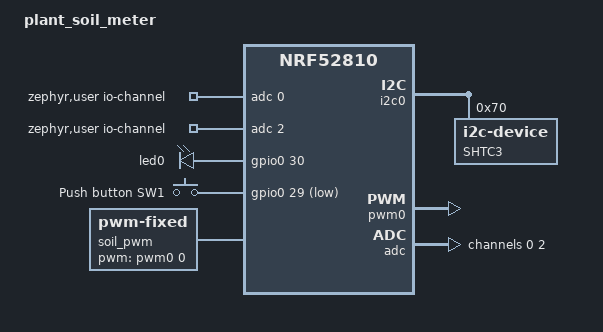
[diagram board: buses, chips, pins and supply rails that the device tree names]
/dts-v1/;

#include <nordic/nrf52810_qfaa.dtsi>
#include "t_parasite-pinctrl.dtsi"

/ {
	model = "plant_soil_meter";
	compatible = "Travis_Leaton,t-parasite";

	chosen {
		zephyr,sram = &sram0;
		zephyr,flash = &flash0;
		zephyr,code-partition = &slot0_partition;
	};

	zephyr,user {
		io-channels = <&adc 0>, <&adc 2>;
	};

	leds {
		compatible = "gpio-leds";
		led0: led_0 {
			// P0.30.
			gpios = <&gpio0 30 GPIO_ACTIVE_HIGH>;
		};
	};

	buttons {
		compatible = "gpio-keys";
		button0: button_0 {
			// P0.29.
			gpios = <&gpio0 29 (GPIO_PULL_UP | GPIO_ACTIVE_LOW)>;
			label = "Push button SW1";
		};
	};

	soil_pwm: soil_pwm {
		compatible = "pwm-fixed";
		pwms = <&pwm0 0 PWM_USEC(2) PWM_POLARITY_NORMAL>;
		pulse = <PWM_USEC(1)>;
	};

	soil_calibration_coeffs: soil_calibration_coeffs {
		compatible = "soil-calibration-coeffs";
		dry = <306000 101000 (-11700)>;
		wet = <19000 (-4980) 3420>;
	};


};

&uicr {
	gpio-as-nreset;
};

&gpiote {
	status = "okay";
};

&gpio0 {
	status = "okay";
	// For low-power EDGE interrupts.
	// See github.com/zephyrproject-rtos/zephyr/issues/28499.
	sense-edge-mask = <0xffffffff>;
};

&i2c0 {
	compatible = "nordic,nrf-twi";
	status = "okay";
	pinctrl-0 = <&i2c0_default>;
	pinctrl-1 = <&i2c0_sleep>;
	pinctrl-names = "default", "sleep";

	shtc3: shtc3@70 {
		compatible = "i2c-device";
		reg = <0x70>;
		label = "SHTC3";
	};
};

&pwm0 {
	status = "okay";
	pinctrl-0 = <&pwm0_default>;
	pinctrl-1 = <&pwm0_sleep>;
	pinctrl-names = "default", "sleep";
};

&adc {
	#address-cells = <1>;
	#size-cells = <0>;
	status = "okay";

	// Soil.
	channel@0 {
		reg = <0>;
		zephyr,gain = "ADC_GAIN_1_6";
		zephyr,reference = "ADC_REF_VDD_1_4";
		zephyr,acquisition-time = <ADC_ACQ_TIME_DEFAULT>;
		// P0.03.
		zephyr,input-positive = <NRF_SAADC_AIN1>;
		zephyr,resolution = <10>;

	};

	// Battery.
	channel@2 {
		reg = <2>;
		zephyr,gain = "ADC_GAIN_1_6";
		zephyr,reference = "ADC_REF_INTERNAL";
		zephyr,acquisition-time = <ADC_ACQ_TIME_DEFAULT>;
		zephyr,input-positive = <NRF_SAADC_VDD>;
		zephyr,resolution = <10>;
	};
};

// &reg {
// 	regulator-initial-mode = <NRF5X_REG_MODE_DCDC>;
// };

&flash0 {
	partitions {
		compatible = "fixed-partitions";
		#address-cells = <1>;
		#size-cells = <1>;

		slot0_partition: partition@0 {
			label = "image-0";
			reg = <0x00000000 0x2A000>;
		};
		storage_partition: partition@2a000 {
			label = "storage";
			reg = <0x0002A000 0x00006000>;
		};
	};
};
